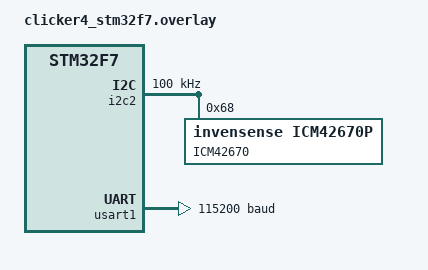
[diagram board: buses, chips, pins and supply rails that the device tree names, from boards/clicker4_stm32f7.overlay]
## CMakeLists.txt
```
cmake_minimum_required(VERSION 3.20)
find_package(Zephyr REQUIRED HINTS $ENV{ZEPHYR_BASE})
project(imu_test)

target_sources(app PRIVATE src/main.c)
```

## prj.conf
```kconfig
## Minimal, UART-visible config for IMU I2C bring-up on clicker4_stm32f7

# Peripherals needed
CONFIG_I2C=y
CONFIG_SENSOR=y

# Console / UART
CONFIG_SERIAL=y
CONFIG_CONSOLE=y
CONFIG_UART_CONSOLE=y
CONFIG_STDOUT_CONSOLE=y
CONFIG_PRINTK=y
CONFIG_LOG=y
CONFIG_LOG_BACKEND_UART=y
CONFIG_LOG_DEFAULT_LEVEL=4

# Keep prints readable
CONFIG_CBPRINTF_FP_SUPPORT=y
CONFIG_NEWLIB_LIBC_FLOAT_PRINTF=y

# Trim POSIX/USB and unrelated drivers that can break the build on this board
CONFIG_POSIX_API=n
CONFIG_POSIX_CLOCK=n
CONFIG_USB_DEVICE_STACK=n
CONFIG_USB_CDC_ACM=n
CONFIG_PM_DEVICE_RUNTIME=n
CONFIG_COUNTER=n
CONFIG_PWM=n
CONFIG_WATCHDOG=n

# Optional diagnostics
CONFIG_FAULT_DUMP=2
```

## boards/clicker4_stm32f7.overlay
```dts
&i2c2 {
    clock-frequency = <I2C_BITRATE_STANDARD>;

    icm42670p: icm42670p@68 {
        compatible = "invensense,icm42670p";
        reg = <0x68>;
        label = "ICM42670";
        /* Required properties */
        gyro-hz = <100>;
        accel-hz = <100>;
        accel-fs = <16>;
        gyro-fs = <2000>;
        status = "okay";
    };
};

&usart1 {
    current-speed = <115200>;
};

/ {
    aliases {
        imu = &icm42670p;
    };
    chosen {
        zephyr,console = &usart1;
        zephyr,shell-uart = &usart1;
    };
};
```

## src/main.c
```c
/* Minimal IMU test using the Zephyr ICM42670 sensor driver */
#include <zephyr/kernel.h>
#include <zephyr/device.h>
#include <zephyr/devicetree.h>
#include <zephyr/drivers/sensor.h>
#include <zephyr/logging/log.h>
#include <zephyr/sys/printk.h>

LOG_MODULE_REGISTER(imu_test, LOG_LEVEL_INF);

#define IMU_NODE DT_ALIAS(imu)
#if !DT_NODE_HAS_STATUS(IMU_NODE, okay)
#error "No 'imu' alias found or it is disabled in the devicetree"
#endif

int main(void)
{
    const struct device *imu = DEVICE_DT_GET(IMU_NODE);
    k_sleep(K_MSEC(300));
    printk("IMU sensor driver test starting\n");

    while (!device_is_ready(imu)) {
        LOG_ERR("ICM42670 device not ready");
        device_init(imu);
        k_sleep(K_MSEC(10));
    }

    /* Optional: set ODR to 100 Hz for both accel and gyro */
    struct sensor_value odr;
    odr.val1 = 100; odr.val2 = 0;
    (void)sensor_attr_set(imu, SENSOR_CHAN_ACCEL_XYZ, SENSOR_ATTR_SAMPLING_FREQUENCY, &odr);
    (void)sensor_attr_set(imu, SENSOR_CHAN_GYRO_XYZ,  SENSOR_ATTR_SAMPLING_FREQUENCY, &odr);

    while (1) {
        int rc = sensor_sample_fetch(imu);
        if (rc) {
            LOG_WRN("sample_fetch: %d", rc);
            k_sleep(K_MSEC(100));
            continue;
        }

        struct sensor_value acc[3], gyr[3];
        rc = sensor_channel_get(imu, SENSOR_CHAN_ACCEL_XYZ, acc);
        if (rc == 0) {
            rc = sensor_channel_get(imu, SENSOR_CHAN_GYRO_XYZ,  gyr);
        }

        if (rc == 0) {
            double ax = sensor_value_to_double(&acc[0]);
            double ay = sensor_value_to_double(&acc[1]);
            double az = sensor_value_to_double(&acc[2]);
            double gx = sensor_value_to_double(&gyr[0]);
            double gy = sensor_value_to_double(&gyr[1]);
            double gz = sensor_value_to_double(&gyr[2]);
            printk("ACC [m/s^2]=[% .3f % .3f % .3f]  GYR [rad/s]=[% .3f % .3f % .3f]\n",
                   ax, ay, az, gx, gy, gz);
        } else {
            LOG_WRN("channel_get: %d", rc);
        }

        k_sleep(K_MSEC(100));
    }
}
```
